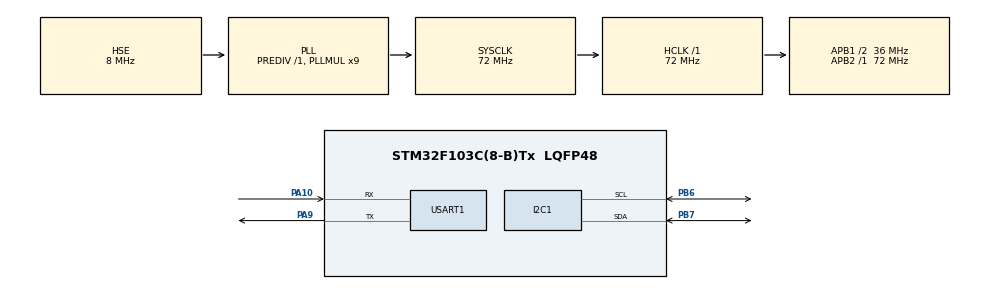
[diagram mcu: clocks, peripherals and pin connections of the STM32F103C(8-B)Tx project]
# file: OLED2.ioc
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I2C1.I2C_Mode=I2C_Fast
Mcu.Family=STM32F1
Mcu.Name=STM32F103C(8-B)Tx
Mcu.Package=LQFP48
NVIC.PriorityGroup=NVIC_PRIORITYGROUP_4
NVIC.USART1_IRQn=true\:0\:0\:false\:false\:true\:true\:true\:true
PA10.Mode=Asynchronous
PA10.Signal=USART1_RX
PA13.Mode=Serial_Wire
PA13.Signal=SYS_JTMS-SWDIO
PA14.Mode=Serial_Wire
PA14.Signal=SYS_JTCK-SWCLK
PA9.Mode=Asynchronous
PA9.Signal=USART1_TX
PB6.Mode=I2C
PB6.Signal=I2C1_SCL
PB7.Mode=I2C
PB7.Signal=I2C1_SDA
PD0-OSC_IN.Mode=HSE-External-Oscillator
PD0-OSC_IN.Signal=RCC_OSC_IN
PD1-OSC_OUT.Mode=HSE-External-Oscillator
PD1-OSC_OUT.Signal=RCC_OSC_OUT
ProjectManager.HeapSize=0x200
ProjectManager.StackSize=0x400
ProjectManager.TargetToolchain=Makefile
RCC.AHBFreq_Value=72000000
RCC.APB1CLKDivider=RCC_HCLK_DIV2
RCC.APB1Freq_Value=36000000
RCC.APB1TimFreq_Value=72000000
RCC.APB2Freq_Value=72000000
RCC.APB2TimFreq_Value=72000000
RCC.HCLKFreq_Value=72000000
RCC.PLLMUL=RCC_PLL_MUL9
RCC.PLLSourceVirtual=RCC_PLLSOURCE_HSE
RCC.SYSCLKFreq_VALUE=72000000
RCC.SYSCLKSource=RCC_SYSCLKSOURCE_PLLCLK
RCC.USBFreq_Value=72000000
USART1.VirtualMode=VM_ASYNC
board=custom

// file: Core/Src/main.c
/* USER CODE BEGIN Header */
/**
  ******************************************************************************
  * @file           : main.c
  * @brief          : Main program body
  ******************************************************************************
  * @attention
  *
  * Copyright (c) 2026 STMicroelectronics.
  * All rights reserved.
  *
  * This software is licensed under terms that can be found in the LICENSE file
  * in the root directory of this software component.
  * If no LICENSE file comes with this software, it is provided AS-IS.
  *
  ******************************************************************************
  */
/* USER CODE END Header */
#include "main.h"
#include "i2c.h"
#include "usart.h"
#include "gpio.h"

/* USER CODE BEGIN Includes */
#include "stdio.h"
#include "string.h"

#include "math.h"
#include "stdarg.h"
#include "OLED.h"
/* USER CODE END Includes */

/* USER CODE BEGIN PD */
#define PI 3.1415926f
/* USER CODE END PD */

void SystemClock_Config(void);

/* USER CODE BEGIN 0 */
uint8_t Receive_Data[1] = {0};
float gram_num[1] = {0};
float t = 0.0f;

  void Vofa_FireWater(const char *format, ...)
  {
      uint8_t txBuffer[100];
      uint32_t n;
      va_list args;
      va_start(args, format);
      n = vsnprintf((char *)txBuffer, 100, format, args);

      HAL_UART_Transmit_IT(&huart1, (uint8_t *)txBuffer, n);
      //......................................

      va_end(args);
  }

  void Vofa_JustFloat(float *_data, uint8_t _num)
  {
      uint8_t tempData[100];
      uint8_t temp_end[4] = {0, 0, 0x80, 0x7F};
      float temp_copy[_num];

      memcpy(&temp_copy, _data, sizeof(float) * _num);

      memcpy(tempData, (uint8_t *)&temp_copy, sizeof(temp_copy));
      memcpy(&tempData[_num * 4], &temp_end[0], 4);

      HAL_UART_Transmit_IT(&huart1, tempData, (_num + 1) * 4);
      //......................................
  }

/* USER CODE END 0 */

int main(void)
{

  /* MCU Configuration--------------------------------------------------------*/

  /* Reset of all peripherals, Initializes the Flash interface and the Systick. */
  HAL_Init();

  /* Configure the system clock */
  SystemClock_Config();

  /* Initialize all configured peripherals */
  MX_GPIO_Init();
  MX_I2C1_Init();
  MX_USART1_UART_Init();
  /* USER CODE BEGIN 2 */
  HAL_UART_Receive_IT(&huart1, Receive_Data, 1);
  OLED_init();
  OLED_display_on();
  OLED_LOGO();
  HAL_Delay(1000);
  /* USER CODE END 2 */

  /* Infinite loop */
  while (1)
  {

    /* USER CODE BEGIN 3 */
    if(Receive_Data[0] == '1')
    {
      gram_num[0] = 2*sin(t*PI);
      t+= 0.02f;
      OLED_operate_gram(PEN_CLEAR);
      OLED_show_string(0, 0, "Sine");
      OLED_refresh_gram();
    }
    else if(Receive_Data[0] == '2')
    {
      gram_num[0] = 2*t - 1.0f;
      t+= 0.02f;
      OLED_operate_gram(PEN_CLEAR);
      OLED_show_string(0, 0, "Sawtooth");
      OLED_refresh_gram();
      if(t >= 1)
      {
        t = 0;
      }
    }
    else if(Receive_Data[0] == '3')
    {
      gram_num[0] = 0.5*(t < 0.75 ? 1 : -1);
      t+= 0.01f;
      OLED_operate_gram(PEN_CLEAR);
      OLED_show_string(0, 0, "Square");
      OLED_refresh_gram();
      if(t >= 1.5){
        t = 0;
      }
    }
    Vofa_JustFloat(gram_num, 1);
    HAL_Delay(10);
  }
  /* USER CODE END 3 */
}

void SystemClock_Config(void)
{
  RCC_OscInitTypeDef RCC_OscInitStruct = {0};
  RCC_ClkInitTypeDef RCC_ClkInitStruct = {0};

  /** Initializes the RCC Oscillators according to the specified parameters
  * in the RCC_OscInitTypeDef structure.
  */
  RCC_OscInitStruct.OscillatorType = RCC_OSCILLATORTYPE_HSE;
  RCC_OscInitStruct.HSEState = RCC_HSE_ON;
  RCC_OscInitStruct.HSEPredivValue = RCC_HSE_PREDIV_DIV1;
  RCC_OscInitStruct.HSIState = RCC_HSI_ON;
  RCC_OscInitStruct.PLL.PLLState = RCC_PLL_ON;
  RCC_OscInitStruct.PLL.PLLSource = RCC_PLLSOURCE_HSE;
  RCC_OscInitStruct.PLL.PLLMUL = RCC_PLL_MUL9;
  if (HAL_RCC_OscConfig(&RCC_OscInitStruct) != HAL_OK)
  {
    Error_Handler();
  }

  /** Initializes the CPU, AHB and APB buses clocks
  */
  RCC_ClkInitStruct.ClockType = RCC_CLOCKTYPE_HCLK|RCC_CLOCKTYPE_SYSCLK
                              |RCC_CLOCKTYPE_PCLK1|RCC_CLOCKTYPE_PCLK2;
  RCC_ClkInitStruct.SYSCLKSource = RCC_SYSCLKSOURCE_PLLCLK;
  RCC_ClkInitStruct.AHBCLKDivider = RCC_SYSCLK_DIV1;
  RCC_ClkInitStruct.APB1CLKDivider = RCC_HCLK_DIV2;
  RCC_ClkInitStruct.APB2CLKDivider = RCC_HCLK_DIV1;

  if (HAL_RCC_ClockConfig(&RCC_ClkInitStruct, FLASH_LATENCY_2) != HAL_OK)
  {
    Error_Handler();
  }
}

/* USER CODE BEGIN 4 */
void HAL_UART_RxCpltCallback(UART_HandleTypeDef *huart)
{
  if(huart->Instance == USART1)
  {
    if(Receive_Data[0] != '1' && Receive_Data[0] != '2' && Receive_Data[0] != '3')
    {
      Receive_Data[0] = gram_num[0];
    }
    else
    {
      gram_num[0] = Receive_Data[0];
    }
    HAL_UART_Receive_IT(&huart1, Receive_Data, 1);
  }
}
/* USER CODE END 4 */

void Error_Handler(void)
{
  __disable_irq();
  while (1)
  {
  }
}
